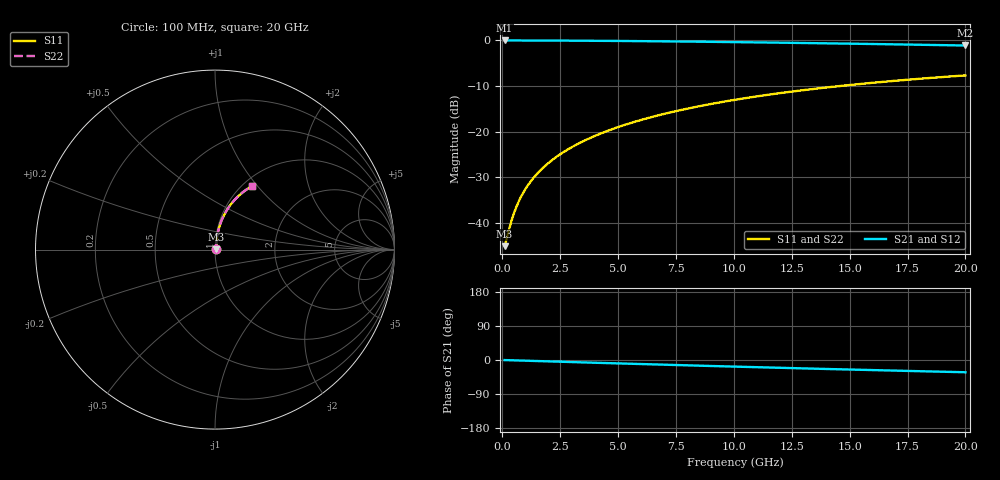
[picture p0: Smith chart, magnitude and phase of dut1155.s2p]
! Touchstone file exported from HFSS 2024.1.0
!  File:  C:/UserFiles/LocalFiles/RDL_TSV_Batchsim/temp_RDL_bottom_1155_1780056227.aedt
!  Generated:  08:06:26 PM May 29, 2026
!  Design:  RDL_bottom
!  Project:  temp_RDL_bottom_1155_1780056227
!  Setup:  Setup1
!  Solution:  Sweep
! Variables:
!  dtsv = 10.80580581um
!  hbump = 3um
!  htsv = 58.34um
!  ldown = 345.16um
!  lrdl = 100um
!  p = 40
!  p1 = 55.89um
!  rhole = 1um
!  t = 450um
!  tdown = 2.05um
!  trdl = 3.915915916um
!  wdown = 12.33um
!  wrdl = 20um
# GHz S MA R 50.000000
! Terminal data exported
! Port[1] = RDL1_T1
! Port[2] = RDL1_T2
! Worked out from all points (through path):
!   200 points, 100 MHz to 20 GHz, reference 50 ohm
!   highest |S21| = -0.04 dB at 100 MHz (marker M1); lowest = -1.1 dB at 20 GHz (marker M2)
!   group delay of S21, straight-line fit = 4.49 ps
!   lowest |S11| = -45.1 dB at 100 MHz (marker M3), VSWR 1.01, Z = 50.5 + j0.233 ohm
!   |S11| at or under -10 dB: start of sweep to 14.63 GHz
!   |S22| runs from -45.1 to -7.7 dB; largest |S21 - S12| = 2.5e-15
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0.1  0.005553 24.6  0.9949 -0.2  0.9949 -0.2  0.005553 24.6
! Gamma 0 0 0 0
! Port Impedance 50 0 50 0
0.4  0.01059 60.3  0.9948 -0.7  0.9948 -0.7  0.01059 60.3
0.5  0.01266 65.0  0.9947 -0.9  0.9947 -0.9  0.01266 65.0
0.6  0.01478 68.3  0.9945 -1.1  0.9945 -1.1  0.01478 68.3
0.7  0.01693 70.7  0.9944 -1.3  0.9944 -1.3  0.01693 70.7
0.9  0.02128 73.9  0.9941 -1.7  0.9941 -1.7  0.02128 73.9
1.2  0.02783 76.7  0.9937 -2.2  0.9937 -2.2  0.02783 76.7
1.4  0.0322 77.9  0.9933 -2.6  0.9933 -2.6  0.0322 77.9
1.7  0.03877 79.1  0.9928 -3.1  0.9928 -3.1  0.03877 79.1
2.2  0.04976 80.2  0.9918 -4.0  0.9918 -4.0  0.04976 80.2
2.8  0.063 80.8  0.9903 -5.1  0.9903 -5.1  0.063 80.8
3.5  0.07851 80.8  0.9883 -6.4  0.9883 -6.4  0.07851 80.8
4.2  0.09407 80.6  0.9859 -7.6  0.9859 -7.6  0.09407 80.6
5  0.1119 80.0  0.9827 -9.0  0.9827 -9.0  0.1119 80.0
5.9  0.1319 79.1  0.9786 -10.6  0.9786 -10.6  0.1319 79.1
6.8  0.1519 78.1  0.9741 -12.1  0.9741 -12.1  0.1519 78.1
8.3  0.185 76.2  0.9657 -14.6  0.9657 -14.6  0.185 76.2
10.1  0.2239 73.7  0.9542 -17.6  0.9542 -17.6  0.2239 73.7
11.7  0.2576 71.4  0.9431 -20.1  0.9431 -20.1  0.2575 71.4
13.4  0.2921 68.9  0.9305 -22.8  0.9305 -22.8  0.2921 68.9
16.7  0.3551 64.1  0.9041 -27.7  0.9041 -27.7  0.355 64.1
20  0.4121 59.6  0.8761 -32.3  0.8761 -32.3  0.412 59.5
